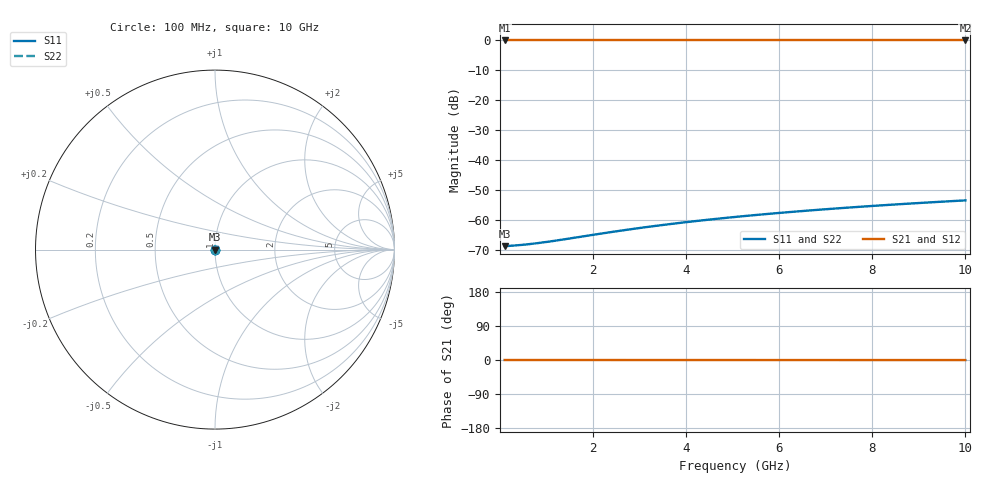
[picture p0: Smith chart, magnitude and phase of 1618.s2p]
# Hz S RI R 50.00
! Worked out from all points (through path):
!   100 points, 100 MHz to 10 GHz, reference 50 ohm
!   highest |S21| = 0.00 dB at 100 MHz (marker M1); lowest = 0.0 dB at 10 GHz (marker M2)
!   lowest |S11| = -68.8 dB at 100 MHz (marker M3), VSWR 1.00, Z = 50 + j0.00208 ohm
!   |S11| at or under -10 dB: start of sweep to end of sweep
!   |S22| runs from -68.8 to -53.5 dB; largest |S21 - S12| = 0
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1e8  0.000364 2.08e-05  0.9996 -2.56e-05  0.9996 -2.56e-05  0.000364 2.08e-05
3e8  0.000368 6.25e-05  0.9996 -7.69e-05  0.9996 -7.69e-05  0.000368 6.25e-05
5e8  0.000371 0.000104  0.9996 -0.000128  0.9996 -0.000128  0.000371 0.000104
8e8  0.000374 0.000167  0.9996 -0.000205  0.9996 -0.000205  0.000374 0.000167
1e9  0.000375 0.000208  0.9996 -0.000256  0.9996 -0.000256  0.000375 0.000208
1.2e9  0.000377 0.00025  0.9996 -0.000308  0.9996 -0.000308  0.000377 0.00025
1.8e9  0.00038 0.000375  0.9996 -0.000461  0.9996 -0.000461  0.00038 0.000375
2.2e9  0.000382 0.000458  0.9996 -0.000564  0.9996 -0.000564  0.000382 0.000458
2.6e9  0.000383 0.000541  0.9996 -0.000666  0.9996 -0.000666  0.000383 0.000541
3e9  0.000384 0.000625  0.9996 -0.000769  0.9996 -0.000769  0.000384 0.000625
3.4e9  0.000386 0.000708  0.9996 -0.000871  0.9996 -0.000871  0.000386 0.000708
3.8e9  0.000387 0.000791  0.9996 -0.000974  0.9996 -0.000974  0.000387 0.000791
4.2e9  0.000388 0.000875  0.9996 -0.00108  0.9996 -0.00108  0.000388 0.000875
4.6e9  0.000389 0.000958  0.9996 -0.00118  0.9996 -0.00118  0.000389 0.000958
5.1e9  0.00039 0.00106  0.9996 -0.00131  0.9996 -0.00131  0.00039 0.00106
5.5e9  0.000391 0.00115  0.9996 -0.00141  0.9996 -0.00141  0.000391 0.00115
5.9e9  0.000393 0.00123  0.9996 -0.00151  0.9996 -0.00151  0.000393 0.00123
6.7e9  0.000395 0.0014  0.9996 -0.00172  0.9996 -0.00172  0.000395 0.0014
7.5e9  0.000397 0.00156  0.9996 -0.00192  0.9996 -0.00192  0.000397 0.00156
8.4e9  0.000399 0.00175  0.9996 -0.00216  0.9996 -0.00216  0.000399 0.00175
9.2e9  0.000401 0.00192  0.9996 -0.00236  0.9996 -0.00236  0.000401 0.00192
1e10  0.000403 0.00209  0.9996 -0.00257  0.9996 -0.00257  0.000403 0.00209
